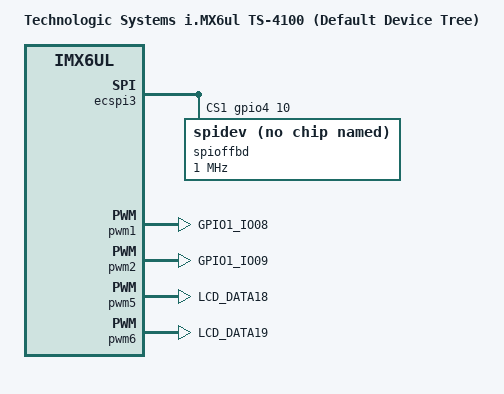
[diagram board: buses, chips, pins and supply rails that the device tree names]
/*
 * Copyright (C) 2016 Technologic Systems
 *
 * This program is free software; you can redistribute it and/or modify
 * it under the terms of the GNU General Public License version 2 as
 * published by the Free Software Foundation.
 */

/dts-v1/;

#include "imx6ul-ts4100.dtsi"

/ {
	model = "Technologic Systems i.MX6ul TS-4100 (Default Device Tree)";
	compatible = "fsl,imx6ul-ts4100", "fsl,imx6ul";
};

&ecspi3 {
	fsl,spi-num-chipselects = <2>;
	cs-gpios = <&gpio4 12 0>, <&gpio4 10 0>;
	spioffbd: spi@1 {
		compatible = "spidev";
		reg = <1>;
		spi-max-frequency = <1000000>;
	};
};

&pwm1 {
	pinctrl-names = "default";
	pinctrl-0 = <&pinctrl_pwm1>;
};

&pwm2 {
	pinctrl-names = "default";
	pinctrl-0 = <&pinctrl_pwm2>;
};

&pwm5 {
	pinctrl-names = "default";
	pinctrl-0 = <&pinctrl_pwm5>;
};

&pwm6 {
	pinctrl-names = "default";
	pinctrl-0 = <&pinctrl_pwm6>;
};

&iomuxc {
	pinctrl-names = "default";
	pinctrl-0 = <&pinctrl_hog>;
	imx6ul-ts4100 {
		pinctrl_hog: hoggrp {
			fsl,pins = <
				MX6UL_PAD_GPIO1_IO01__GPIO1_IO01     0x17059 /* GPIO_1_ADC */
				MX6UL_PAD_UART1_CTS_B__GPIO1_IO18    0x1b020 /* SPARE_1 */
				MX6UL_PAD_UART1_RTS_B__GPIO1_IO19    0x1b020 /* SPARE_2 */
				MX6UL_PAD_SNVS_TAMPER0__GPIO5_IO00   0x1b020 /* POWER_FAIL */
				MX6UL_PAD_SNVS_TAMPER1__GPIO5_IO01   0x1b020 /* FPGA_IRQ */
				MX6UL_PAD_SNVS_TAMPER2__GPIO5_IO02   0x1b020 /* EN_FPGA_PWR */
				MX6UL_PAD_NAND_WP_B__GPIO4_IO11      0x1b020 /* FPGA_RESET# */
				MX6UL_PAD_SNVS_TAMPER4__GPIO5_IO04   0x1b020 /* JTAG_FPGA_TDO */
				MX6UL_PAD_SNVS_TAMPER5__GPIO5_IO05   0x1b020 /* JTAG_FPGA_TDI */
				MX6UL_PAD_SNVS_TAMPER6__GPIO5_IO06   0x1b020 /* JTAG_FPGA_TMS */
				MX6UL_PAD_SNVS_TAMPER7__GPIO5_IO07   0x1b020 /* JTAG_FPGA_TCK */
			>;
		};

		pinctrl_pwm1: ts4100pwm1 {
			fsl,pins = <
				MX6UL_PAD_GPIO1_IO08__PWM1_OUT  0x13020
			>;
		};
		pinctrl_pwm2: ts4100pwm2 {
			fsl,pins = <
				MX6UL_PAD_GPIO1_IO09__PWM2_OUT  0x13020
			>;
		};
		pinctrl_pwm5: ts4100pwm5 {
			fsl,pins = <
				MX6UL_PAD_LCD_DATA18__PWM5_OUT  0x13020
			>;
		};
		pinctrl_pwm6: ts4100pwm6 {
			fsl,pins = <
				MX6UL_PAD_LCD_DATA19__PWM6_OUT  0x13020
			>;
		};
	};
};
